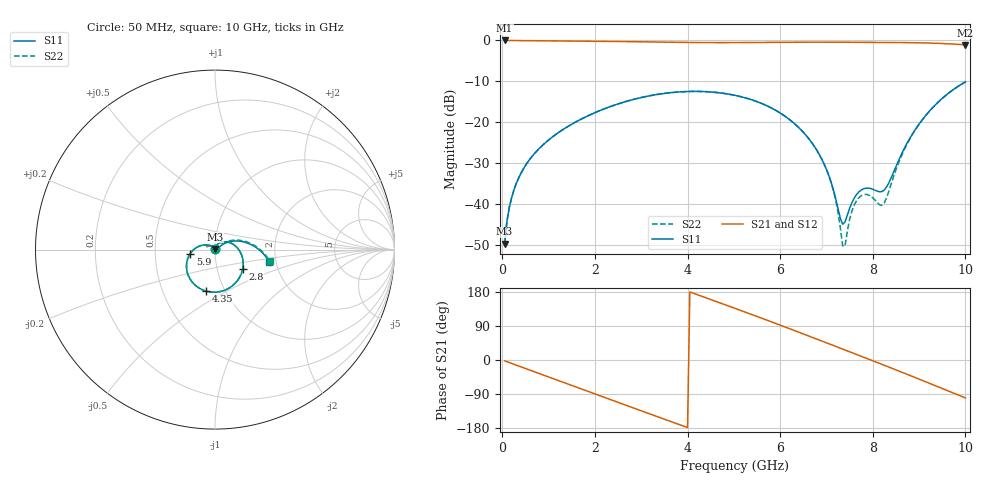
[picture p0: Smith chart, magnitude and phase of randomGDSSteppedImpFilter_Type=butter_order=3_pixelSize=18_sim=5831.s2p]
! freq	dB(S11)	phase(S11)	dB(S12)	phase(S12)
!  dB(S21)	phase(S21)	dB(S22)	phase(S22)
!S-par simulation data
#  GHz  S  DB  R 50
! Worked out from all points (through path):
!   200 points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, 50 MHz to 10 GHz, reference 50 ohm
!   highest |S21| = 0.00 dB at 50 MHz (marker M1); lowest = -1.1 dB at 10 GHz (marker M2)
!   group delay of S21, straight-line fit = 127 ps
!   lowest |S11| = -49.8 dB at 50 MHz (marker M3), VSWR 1.01, Z = 50.1 + j0.32 ohm
!   |S11| at or under -10 dB: start of sweep to end of sweep
!   |S22| runs from -50.4 to -10.2 dB; largest |S21 - S12| = 0
!   S11 on the Smith chart (normalised r, x): 50 MHz: 1.00, +0.01; 2.8 GHz: 1.33, -0.29; 4.35 GHz: 0.82, -0.40; 5.9 GHz: 0.76, -0.03; 10 GHz: 1.84, -0.28
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0.05  -49.80 80.6  -0.00 -2.3  -0.00 -2.3  -49.80 80.6
0.2  -38.57 77.9  -0.02 -9.0  -0.02 -9.0  -38.57 77.9
0.5  -30.63 66.6  -0.04 -22.5  -0.04 -22.5  -30.63 66.5
1.15  -23.07 38.6  -0.08 -51.5  -0.08 -51.5  -23.07 38.4
1.75  -19.00 12.2  -0.14 -78.4  -0.14 -78.4  -19.00 11.9
2.8  -14.54 -34.4  -0.31 -125.2  -0.31 -125.2  -14.54 -34.7
3.4  -13.13 -60.9  -0.41 -151.8  -0.41 -151.8  -13.13 -61.2
4.35  -12.52 -102.3  -0.52 166.3  -0.52 166.3  -12.52 -102.6
5.05  -13.50 -132.9  -0.52 135.2  -0.52 135.2  -13.50 -133.1
5.9  -17.09 -170.9  -0.46 96.7  -0.46 96.7  -17.09 -170.8
6.7  -25.32 150.6  -0.42 59.5  -0.42 59.5  -25.29 152.2
7.1  -34.72 122.1  -0.42 40.6  -0.42 40.6  -34.76 129.6
7.25  -41.20 93.8  -0.43 33.6  -0.43 33.6  -42.11 111.7
7.35  -45.00 45.8  -0.43 28.8  -0.43 28.8  -50.28 63.6
7.55  -39.72 -24.1  -0.44 19.4  -0.44 19.4  -41.78 -39.6
7.7  -37.09 -37.1  -0.45 12.3  -0.45 12.3  -38.53 -50.1
8.2  -37.01 -13.7  -0.48 -11.5  -0.48 -11.5  -40.36 -14.0
8.35  -34.82 13.3  -0.49 -18.7  -0.49 -18.7  -36.82 23.8
8.65  -27.14 33.3  -0.52 -33.2  -0.52 -33.2  -27.48 39.8
9  -20.46 28.1  -0.58 -50.4  -0.58 -50.4  -20.54 31.5
9.5  -14.19 9.4  -0.75 -75.2  -0.75 -75.2  -14.21 11.1
10  -10.15 -12.8  -1.08 -100.1  -1.08 -100.1  -10.15 -11.8
